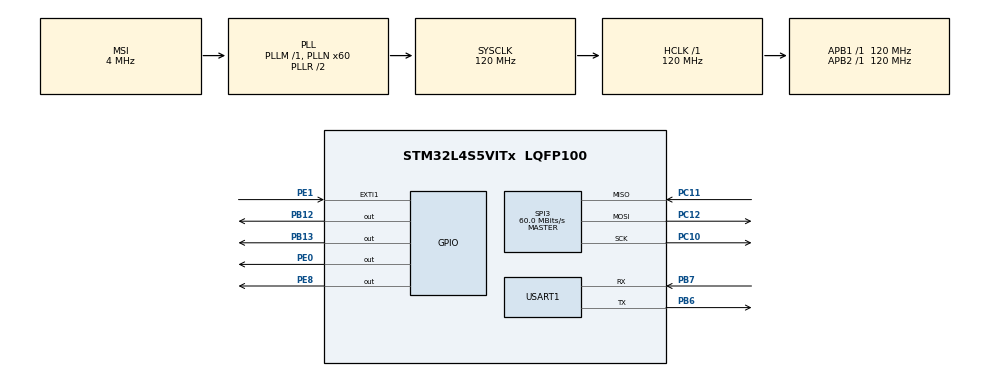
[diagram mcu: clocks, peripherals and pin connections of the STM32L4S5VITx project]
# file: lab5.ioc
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Mcu.Family=STM32L4
Mcu.Name=STM32L4S5VITx
Mcu.Package=LQFP100
NVIC.EXTI1_IRQn=true\:5\:0\:true\:false\:true\:true\:true\:true
NVIC.PriorityGroup=NVIC_PRIORITYGROUP_4
NVIC.SPI3_IRQn=true\:6\:0\:true\:false\:true\:true\:true\:true
PB12.Signal=GPIO_Output
PB13.Signal=GPIO_Output
PB6.Mode=Asynchronous
PB6.Signal=USART1_TX
PB7.Mode=Asynchronous
PB7.Signal=USART1_RX
PC10.Mode=Full_Duplex_Master
PC10.Signal=SPI3_SCK
PC11.Mode=Full_Duplex_Master
PC11.Signal=SPI3_MISO
PC12.Mode=Full_Duplex_Master
PC12.Signal=SPI3_MOSI
PE0.PinState=GPIO_PIN_SET
PE0.Signal=GPIO_Output
PE1.Signal=GPXTI1
PE8.Signal=GPIO_Output
ProjectManager.HeapSize=0x200
ProjectManager.StackSize=0x400
ProjectManager.TargetToolchain=STM32CubeIDE
RCC.ADCFreq_Value=48000000
RCC.AHBFreq_Value=120000000
RCC.APB1Freq_Value=120000000
RCC.APB1TimFreq_Value=120000000
RCC.APB2Freq_Value=120000000
RCC.APB2TimFreq_Value=120000000
RCC.CortexFreq_Value=120000000
RCC.HCLKFreq_Value=120000000
RCC.HSE_VALUE=8000000
RCC.HSI48_VALUE=48000000
RCC.HSI_VALUE=16000000
RCC.LSE_VALUE=32768
RCC.MSI_VALUE=4000000
RCC.PLLN=60
RCC.PLLSAI1N=24
RCC.SYSCLKFreq_VALUE=120000000
RCC.SYSCLKSource=RCC_SYSCLKSOURCE_PLLCLK
RCC.USBFreq_Value=48000000
RCC.VCOOutputFreq_Value=240000000
SPI3.CalculateBaudRate=60.0 MBits/s
SPI3.Direction=SPI_DIRECTION_2LINES
SPI3.Mode=SPI_MODE_MASTER
SPI3.VirtualType=VM_MASTER
USART1.VirtualMode-Asynchronous=VM_ASYNC
board=B-L4S5I-IOT01A

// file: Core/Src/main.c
/* USER CODE BEGIN Header */
/**
  ******************************************************************************
  * @file           : main.c
  * @brief          : Main program body
  ******************************************************************************
  * @attention
  *
  * Copyright (c) 2025 STMicroelectronics.
  * All rights reserved.
  *
  * This software is licensed under terms that can be found in the LICENSE file
  * in the root directory of this software component.
  * If no LICENSE file comes with this software, it is provided AS-IS.
  *
  ******************************************************************************
  */
/* USER CODE END Header */
#include "main.h"

/* USER CODE BEGIN Includes */
#include "wifi.h"
#include <stdio.h>
/* USER CODE END Includes */

SPI_HandleTypeDef hspi3;

UART_HandleTypeDef huart1;

void SystemClock_Config(void);
static void MX_GPIO_Init(void);
static void MX_SPI3_Init(void);
static void MX_USART1_UART_Init(void);

int main(void)
{

  /* MCU Configuration--------------------------------------------------------*/

  /* Reset of all peripherals, Initializes the Flash interface and the Systick. */
  HAL_Init();

  /* Configure the system clock */
  SystemClock_Config();

  /* Initialize all configured peripherals */
  MX_GPIO_Init();
  MX_SPI3_Init();
  MX_USART1_UART_Init();
  /* USER CODE BEGIN 2 */

  // WIFI Setup
  char buffer[128];
  int length;
  WIFI_Status_t wifi_status = WIFI_Init();

  if (wifi_status == WIFI_STATUS_ERROR) {
	  length = sprintf(buffer, "WIFI Init Error. Check STM hardware and software configuration\n");
	  HAL_UART_Transmit(&huart1, (uint8_t*)buffer, length, 100);
  }
  else {
	  length = sprintf(buffer, "Successful WIFI Init\n");
	  HAL_UART_Transmit(&huart1, (uint8_t*)buffer, length, 100);

	  // Connect to a WIFI AP
	  wifi_status = WIFI_Connect("SSID", "PASSWORD", WIFI_ECN_WPA_WPA2_PSK);
	  if (wifi_status == WIFI_STATUS_ERROR) {
		  length = sprintf(buffer, "WIFI Connection Error. Check SSID/Password/Encryption Type\n");
		  HAL_UART_Transmit(&huart1, (uint8_t*)buffer, length, 100);
	  }
	  else {
		  length = sprintf(buffer, "Successful WIFI Connection\n");
		  HAL_UART_Transmit(&huart1, (uint8_t*)buffer, length, 100);
	  }
  }

  /* USER CODE END 2 */

  /* Infinite loop */
  while (1)
  {

  }
}

void SystemClock_Config(void)
{
  RCC_OscInitTypeDef RCC_OscInitStruct = {0};
  RCC_ClkInitTypeDef RCC_ClkInitStruct = {0};

  /** Configure the main internal regulator output voltage
  */
  if (HAL_PWREx_ControlVoltageScaling(PWR_REGULATOR_VOLTAGE_SCALE1_BOOST) != HAL_OK)
  {
    Error_Handler();
  }

  /** Initializes the RCC Oscillators according to the specified parameters
  * in the RCC_OscInitTypeDef structure.
  */
  RCC_OscInitStruct.OscillatorType = RCC_OSCILLATORTYPE_MSI;
  RCC_OscInitStruct.MSIState = RCC_MSI_ON;
  RCC_OscInitStruct.MSICalibrationValue = 0;
  RCC_OscInitStruct.MSIClockRange = RCC_MSIRANGE_6;
  RCC_OscInitStruct.PLL.PLLState = RCC_PLL_ON;
  RCC_OscInitStruct.PLL.PLLSource = RCC_PLLSOURCE_MSI;
  RCC_OscInitStruct.PLL.PLLM = 1;
  RCC_OscInitStruct.PLL.PLLN = 60;
  RCC_OscInitStruct.PLL.PLLP = RCC_PLLP_DIV2;
  RCC_OscInitStruct.PLL.PLLQ = RCC_PLLQ_DIV2;
  RCC_OscInitStruct.PLL.PLLR = RCC_PLLR_DIV2;
  if (HAL_RCC_OscConfig(&RCC_OscInitStruct) != HAL_OK)
  {
    Error_Handler();
  }

  /** Initializes the CPU, AHB and APB buses clocks
  */
  RCC_ClkInitStruct.ClockType = RCC_CLOCKTYPE_HCLK|RCC_CLOCKTYPE_SYSCLK
                              |RCC_CLOCKTYPE_PCLK1|RCC_CLOCKTYPE_PCLK2;
  RCC_ClkInitStruct.SYSCLKSource = RCC_SYSCLKSOURCE_PLLCLK;
  RCC_ClkInitStruct.AHBCLKDivider = RCC_SYSCLK_DIV1;
  RCC_ClkInitStruct.APB1CLKDivider = RCC_HCLK_DIV1;
  RCC_ClkInitStruct.APB2CLKDivider = RCC_HCLK_DIV1;

  if (HAL_RCC_ClockConfig(&RCC_ClkInitStruct, FLASH_LATENCY_5) != HAL_OK)
  {
    Error_Handler();
  }
}

static void MX_SPI3_Init(void)
{

  /* SPI3 parameter configuration*/
  hspi3.Instance = SPI3;
  hspi3.Init.Mode = SPI_MODE_MASTER;
  hspi3.Init.Direction = SPI_DIRECTION_2LINES;
  hspi3.Init.DataSize = SPI_DATASIZE_4BIT;
  hspi3.Init.CLKPolarity = SPI_POLARITY_LOW;
  hspi3.Init.CLKPhase = SPI_PHASE_1EDGE;
  hspi3.Init.NSS = SPI_NSS_SOFT;
  hspi3.Init.BaudRatePrescaler = SPI_BAUDRATEPRESCALER_2;
  hspi3.Init.FirstBit = SPI_FIRSTBIT_MSB;
  hspi3.Init.TIMode = SPI_TIMODE_DISABLE;
  hspi3.Init.CRCCalculation = SPI_CRCCALCULATION_DISABLE;
  hspi3.Init.CRCPolynomial = 7;
  hspi3.Init.CRCLength = SPI_CRC_LENGTH_DATASIZE;
  hspi3.Init.NSSPMode = SPI_NSS_PULSE_ENABLE;
  if (HAL_SPI_Init(&hspi3) != HAL_OK)
  {
    Error_Handler();
  }

}

static void MX_USART1_UART_Init(void)
{

  huart1.Instance = USART1;
  huart1.Init.BaudRate = 115200;
  huart1.Init.WordLength = UART_WORDLENGTH_8B;
  huart1.Init.StopBits = UART_STOPBITS_1;
  huart1.Init.Parity = UART_PARITY_NONE;
  huart1.Init.Mode = UART_MODE_TX_RX;
  huart1.Init.HwFlowCtl = UART_HWCONTROL_NONE;
  huart1.Init.OverSampling = UART_OVERSAMPLING_16;
  huart1.Init.OneBitSampling = UART_ONE_BIT_SAMPLE_DISABLE;
  huart1.Init.ClockPrescaler = UART_PRESCALER_DIV1;
  huart1.AdvancedInit.AdvFeatureInit = UART_ADVFEATURE_NO_INIT;
  if (HAL_UART_Init(&huart1) != HAL_OK)
  {
    Error_Handler();
  }
  if (HAL_UARTEx_SetTxFifoThreshold(&huart1, UART_TXFIFO_THRESHOLD_1_8) != HAL_OK)
  {
    Error_Handler();
  }
  if (HAL_UARTEx_SetRxFifoThreshold(&huart1, UART_RXFIFO_THRESHOLD_1_8) != HAL_OK)
  {
    Error_Handler();
  }
  if (HAL_UARTEx_DisableFifoMode(&huart1) != HAL_OK)
  {
    Error_Handler();
  }

}

static void MX_GPIO_Init(void)
{
  GPIO_InitTypeDef GPIO_InitStruct = {0};

  /* GPIO Ports Clock Enable */
  __HAL_RCC_GPIOE_CLK_ENABLE();
  __HAL_RCC_GPIOB_CLK_ENABLE();
  __HAL_RCC_GPIOC_CLK_ENABLE();

  /*Configure GPIO pin Output Level */
  HAL_GPIO_WritePin(GPIOE, GPIO_PIN_8, GPIO_PIN_RESET);

  /*Configure GPIO pin Output Level */
  HAL_GPIO_WritePin(GPIOB, GPIO_PIN_12|GPIO_PIN_13, GPIO_PIN_RESET);

  /*Configure GPIO pin Output Level */
  HAL_GPIO_WritePin(GPIOE, GPIO_PIN_0, GPIO_PIN_SET);

  /*Configure GPIO pins : PE8 PE0 */
  GPIO_InitStruct.Pin = GPIO_PIN_8|GPIO_PIN_0;
  GPIO_InitStruct.Mode = GPIO_MODE_OUTPUT_PP;
  GPIO_InitStruct.Pull = GPIO_NOPULL;
  GPIO_InitStruct.Speed = GPIO_SPEED_FREQ_LOW;
  HAL_GPIO_Init(GPIOE, &GPIO_InitStruct);

  /*Configure GPIO pins : PB12 PB13 */
  GPIO_InitStruct.Pin = GPIO_PIN_12|GPIO_PIN_13;
  GPIO_InitStruct.Mode = GPIO_MODE_OUTPUT_PP;
  GPIO_InitStruct.Pull = GPIO_NOPULL;
  GPIO_InitStruct.Speed = GPIO_SPEED_FREQ_LOW;
  HAL_GPIO_Init(GPIOB, &GPIO_InitStruct);

  /*Configure GPIO pin : PE1 */
  GPIO_InitStruct.Pin = GPIO_PIN_1;
  GPIO_InitStruct.Mode = GPIO_MODE_IT_RISING;
  GPIO_InitStruct.Pull = GPIO_NOPULL;
  HAL_GPIO_Init(GPIOE, &GPIO_InitStruct);

  /* EXTI interrupt init*/
  HAL_NVIC_SetPriority(EXTI1_IRQn, 5, 0);
  HAL_NVIC_EnableIRQ(EXTI1_IRQn);

}

void Error_Handler(void)
{
  __disable_irq();
  while (1)
  {
  }
}
